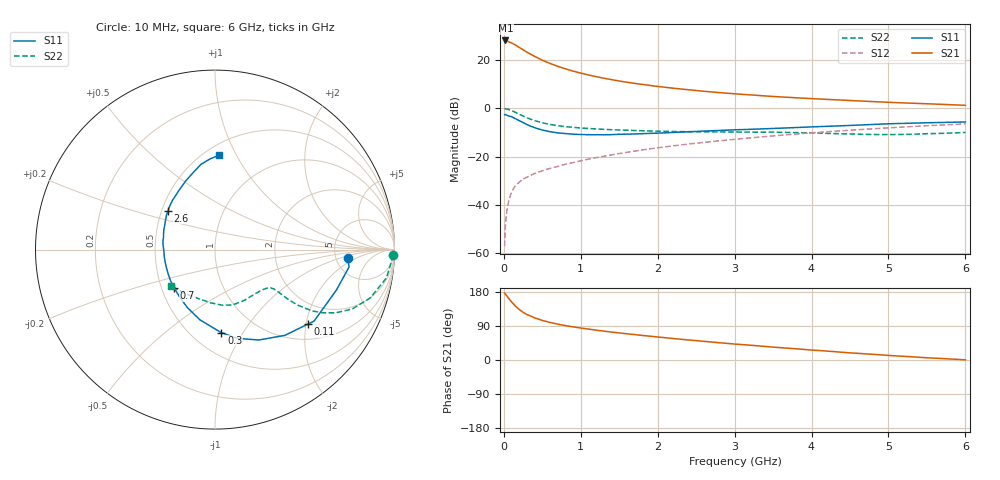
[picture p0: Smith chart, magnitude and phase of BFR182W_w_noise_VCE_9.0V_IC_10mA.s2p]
! Infineon Technologies  Discrete & RF Semiconductors
! BFR182W
! VCE =  9.0 V,  IC =  10 mA
! Common Emitter S-Parameters:  Jan 2017
# GHz  S  MA  R  50
!  f  S11  S21  S12  S22
! GHz  MAG  ANG  MAG  ANG  MAG  ANG  MAG  ANG
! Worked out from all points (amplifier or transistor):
!   77 points, 10 MHz to 6 GHz, reference 50 ohm
!   highest |S21| = 28.2 dB at 20 MHz (marker M1)
!   |S21| within 3 dB of that: start of sweep to 206.7 MHz
!   unconditionally stable (mu >= 1): 1.102 GHz to 2.64 GHz
!   at 130 MHz: K = 0.28, MSG = 29.8 dB, |S12| = -33.0 dB
!   at 2.2 GHz: K = 1.02, MAG = 11.0 dB, |S12| = -15.5 dB
!   at 6 GHz: K = 0.85, MSG = 3.9 dB, |S12| = -6.4 dB
!   lowest NFmin = 1.07 dB at 450 MHz
!   S11 on the Smith chart (normalised r, x): 10 MHz: 6.44, -1.33; 110 MHz: 1.39, -2.06; 300 MHz: 0.69, -0.81; 700 MHz: 0.58, -0.28; 2.6 GHz: 0.54, +0.26; 6 GHz: 0.59, +0.85
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0.01  0.7409 -3.6  25.54 176.4  0.0014 87.8  0.9942 -1.8
0.02  0.7532 -7.4  25.69 174.0  0.0037 91.4  0.9856 -3.8
0.05  0.7131 -18.4  24.73 165.8  0.0096 79.3  0.9688 -9.3
0.1  0.6807 -35.8  22.94 153.1  0.0183 73.5  0.9071 -17.2
0.11  0.6644 -38.6  22.43 151.1  0.0196 72.3  0.8915 -18.4
0.15  0.6165 -50.8  20.7 142.2  0.025 68.6  0.833 -23.4
0.2  0.5598 -64.1  18.46 133.3  0.0297 65.6  0.7601 -27.6
0.25  0.5109 -75.6  16.47 125.8  0.0345 62.2  0.6957 -30.4
0.3  0.464 -85.6  14.67 120.0  0.0377 60.7  0.6391 -32.3
0.4  0.401 -101.9  12 111.0  0.045 60.5  0.5593 -33.8
0.5  0.3581 -115.4  10.01 104.4  0.0511 60.0  0.5047 -34.2
0.6  0.33 -126.6  8.587 99.1  0.0573 61.1  0.4667 -34.1
0.7  0.3122 -136.6  7.482 94.7  0.0628 62.2  0.4402 -33.9
0.9  0.2937 -152.9  5.946 87.4  0.0756 63.7  0.4061 -33.7
1.1  0.2862 -166.3  4.951 81.6  0.0891 65.0  0.3849 -34.2
1.5  0.2917 174.1  3.711 71.5  0.1163 65.9  0.358 -37.1
2.1  0.313 153.2  2.748 58.8  0.1604 64.8  0.3357 -45.7
2.6  0.3397 140.3  2.273 49.2  0.1982 62.6  0.3271 -55.3
3.1  0.3653 129.3  1.964 40.6  0.2375 59.6  0.324 -65.0
4.1  0.4208 111.7  1.572 24.9  0.3207 52.1  0.3085 -84.9
5.1  0.4864 97.9  1.323 10.9  0.4047 43.2  0.2885 -113.8
6  0.5256 87.7  1.165 0.4  0.4789 34.2  0.3186 -140.6
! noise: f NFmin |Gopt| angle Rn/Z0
0.45  1.07  0.08  50  0.15
0.9  1.15  0.07  86  0.15
1.9  1.65  0.19  -164  0.13
2.4  1.9  0.18  -156  0.2
